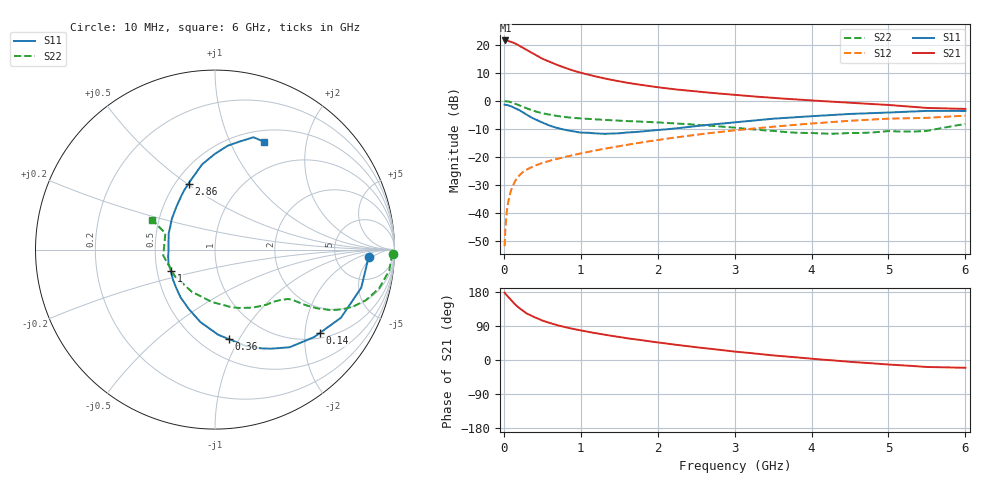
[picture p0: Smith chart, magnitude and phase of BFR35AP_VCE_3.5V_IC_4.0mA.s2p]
! Infineon Technologies  Discrete & RF Semiconductors
! BFR35AP
! VCE =  3.5 V,  IC =  4.0 mA
! Common Emitter S-Parameters:  Nov 2015
# GHz  S  MA  R  50
!  f  S11  S21  S12  S22
! GHz  MAG  ANG  MAG  ANG  MAG  ANG  MAG  ANG
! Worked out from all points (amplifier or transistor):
!   210 points, 10 MHz to 6 GHz, reference 50 ohm
!   highest |S21| = 21.5 dB at 20 MHz (marker M1)
!   |S21| within 3 dB of that: start of sweep to 273.1 MHz
!   unconditionally stable (mu >= 1): 878.7 MHz to 3.496 GHz
!   at 185 MHz: K = 0.33, MSG = 23.5 dB, |S12| = -27.1 dB
!   at 1.52 GHz: K = 1.13, MAG = 9.2 dB, |S12| = -16.0 dB
!   at 6 GHz: K = 0.96, MSG = 1.2 dB, |S12| = -5.3 dB
!   S11 on the Smith chart (normalised r, x): 10 MHz: 12, -4; 140 MHz: 1.14, -2.38; 360 MHz: 0.68, -0.91; 1 GHz: 0.59, -0.15; 2.86 GHz: 0.58, +0.51; 6 GHz: 0.63, +1.35
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0.01  0.8566 -2.9  11.78 177.7  0.0026 89.7  0.9936 -1.4
0.02  0.8495 -5.9  11.84 174.9  0.0053 84.5  0.9843 -2.8
0.05  0.842 -14.6  11.68 168.0  0.0141 82.9  0.9777 -6.9
0.095  0.8001 -27.0  11.19 158.1  0.0258 75.8  0.9439 -12.5
0.14  0.7457 -38.6  10.56 148.0  0.0358 69.7  0.8975 -17.4
0.15  0.7367 -41.4  10.45 145.6  0.038 68.7  0.8875 -18.5
0.2  0.6848 -52.6  9.581 137.1  0.047 64.0  0.8325 -22.4
0.24  0.6324 -60.8  8.899 130.8  0.0531 61.0  0.7905 -24.7
0.3  0.561 -72.6  7.99 122.4  0.0602 58.2  0.7301 -27.5
0.36  0.5047 -81.2  7.167 117.0  0.066 56.1  0.684 -28.9
0.5  0.4118 -101.4  5.607 104.1  0.0785 53.7  0.6011 -31.3
0.6  0.3611 -114.0  4.895 97.3  0.0862 53.0  0.5644 -32.0
0.8  0.3039 -135.3  3.838 86.4  0.1008 53.6  0.5133 -33.0
1  0.2726 -154.2  3.152 78.0  0.1161 54.2  0.4866 -34.5
1.02  0.2716 -156.0  3.103 77.3  0.1176 54.3  0.4846 -34.7
1.4  0.2621 172.0  2.354 63.8  0.1476 54.9  0.4523 -39.0
2.02  0.3034 139.7  1.731 45.9  0.2028 52.9  0.4116 -49.1
2.86  0.3966 111.8  1.326 25.6  0.2842 46.6  0.3458 -69.5
3.1  0.4264 106.2  1.244 20.4  0.3077 43.9  0.3228 -77.4
4.1  0.5425 88.6  0.996 1.7  0.4038 32.2  0.2631 -124.5
5.1  0.6271 75.7  0.824 -13.1  0.4842 18.1  0.286 -178.2
6  0.6602 65.6  0.718 -20.5  0.5449 7.5  0.3877 154.6
